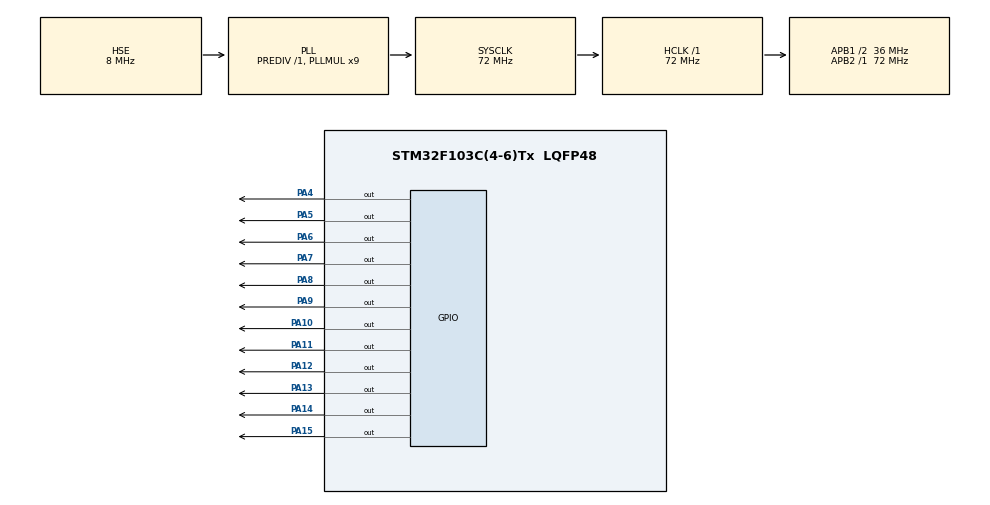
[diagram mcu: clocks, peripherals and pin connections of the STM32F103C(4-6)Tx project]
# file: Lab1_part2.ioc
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Mcu.Family=STM32F1
Mcu.Name=STM32F103C(4-6)Tx
Mcu.Package=LQFP48
NVIC.PriorityGroup=NVIC_PRIORITYGROUP_4
PA10.Signal=GPIO_Output
PA11.Signal=GPIO_Output
PA12.Signal=GPIO_Output
PA13.Signal=GPIO_Output
PA14.Signal=GPIO_Output
PA15.Signal=GPIO_Output
PA4.Signal=GPIO_Output
PA5.Signal=GPIO_Output
PA6.Signal=GPIO_Output
PA7.Signal=GPIO_Output
PA8.Signal=GPIO_Output
PA9.Signal=GPIO_Output
PD0-OSC_IN.Mode=HSE-External-Oscillator
PD0-OSC_IN.Signal=RCC_OSC_IN
PD1-OSC_OUT.Mode=HSE-External-Oscillator
PD1-OSC_OUT.Signal=RCC_OSC_OUT
ProjectManager.HeapSize=0x200
ProjectManager.StackSize=0x400
ProjectManager.TargetToolchain=Makefile
RCC.AHBFreq_Value=72000000
RCC.APB1CLKDivider=RCC_HCLK_DIV2
RCC.APB1Freq_Value=36000000
RCC.APB1TimFreq_Value=72000000
RCC.APB2Freq_Value=72000000
RCC.APB2TimFreq_Value=72000000
RCC.HCLKFreq_Value=72000000
RCC.PLLMUL=RCC_PLL_MUL9
RCC.PLLSourceVirtual=RCC_PLLSOURCE_HSE
RCC.SYSCLKFreq_VALUE=72000000
RCC.SYSCLKSource=RCC_SYSCLKSOURCE_PLLCLK
RCC.USBFreq_Value=72000000
VP_SYS_VS_ND.Mode=No_Debug
board=custom

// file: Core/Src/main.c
/* USER CODE BEGIN Header */
/**
  ******************************************************************************
  * @file           : main.c
  * @brief          : Main program body
  ******************************************************************************
  * @attention
  *
  * Copyright (c) 2023 STMicroelectronics.
  * All rights reserved.
  *
  * This software is licensed under terms that can be found in the LICENSE file
  * in the root directory of this software component.
  * If no LICENSE file comes with this software, it is provided AS-IS.
  *
  ******************************************************************************
  */
/* USER CODE END Header */
#include "main.h"

void SystemClock_Config(void);
static void MX_GPIO_Init(void);

/* USER CODE BEGIN 0 */
void SetNumberOnClock(int num)
{
  switch (num)
  {
  case 0:
    HAL_GPIO_WritePin(GPIOA, GPIO_PIN_4, 0);
    break;
  case 1:
    HAL_GPIO_WritePin(GPIOA, GPIO_PIN_5, 0);
    break;
  case 2:
    HAL_GPIO_WritePin(GPIOA, GPIO_PIN_6, 0);
    break;
  case 3:
    HAL_GPIO_WritePin(GPIOA, GPIO_PIN_7, 0);
    break;
  case 4:
    HAL_GPIO_WritePin(GPIOA, GPIO_PIN_8, 0);
    break;
  case 5:
    HAL_GPIO_WritePin(GPIOA, GPIO_PIN_9, 0);
    break;
  case 6:
    HAL_GPIO_WritePin(GPIOA, GPIO_PIN_10, 0);
    break;
  case 7:
    HAL_GPIO_WritePin(GPIOA, GPIO_PIN_11, 0);
    break;
  case 8:
    HAL_GPIO_WritePin(GPIOA, GPIO_PIN_12, 0);
    break;
  case 9:
    HAL_GPIO_WritePin(GPIOA, GPIO_PIN_13, 0);
    break;
  case 10:
    HAL_GPIO_WritePin(GPIOA, GPIO_PIN_14, 0);
    break;
  case 11:
    HAL_GPIO_WritePin(GPIOA, GPIO_PIN_15, 0);
    break;

  default:
    break;
  }
}

void ClearNumberOnClock(int num)
{
  switch (num)
  {
  case 0:
    HAL_GPIO_WritePin(GPIOA, GPIO_PIN_4, 1);
    break;
  case 1:
    HAL_GPIO_WritePin(GPIOA, GPIO_PIN_5, 1);
    break;
  case 2:
    HAL_GPIO_WritePin(GPIOA, GPIO_PIN_6, 1);
    break;
  case 3:
    HAL_GPIO_WritePin(GPIOA, GPIO_PIN_7, 1);
    break;
  case 4:
    HAL_GPIO_WritePin(GPIOA, GPIO_PIN_8, 1);
    break;
  case 5:
    HAL_GPIO_WritePin(GPIOA, GPIO_PIN_9, 1);
    break;
  case 6:
    HAL_GPIO_WritePin(GPIOA, GPIO_PIN_10, 1);
    break;
  case 7:
    HAL_GPIO_WritePin(GPIOA, GPIO_PIN_11, 1);
    break;
  case 8:
    HAL_GPIO_WritePin(GPIOA, GPIO_PIN_12, 1);
    break;
  case 9:
    HAL_GPIO_WritePin(GPIOA, GPIO_PIN_13, 1);
    break;
  case 10:
    HAL_GPIO_WritePin(GPIOA, GPIO_PIN_14, 1);
    break;
  case 11:
    HAL_GPIO_WritePin(GPIOA, GPIO_PIN_15, 1);
    break;

  default:
    break;
  }
}

void ClearAllClock()
{
  for(int i = 0; i < 12; i++)
  {
    ClearNumberOnClock(i);
  }
}

void Switch1Step2Led(int num)
{
  ClearNumberOnClock(num - 1);
  if(num == 12)
    SetNumberOnClock(0);
  else
    SetNumberOnClock(num);
}

/* USER CODE END 0 */

int main(void)
{

  /* MCU Configuration--------------------------------------------------------*/

  /* Reset of all peripherals, Initializes the Flash interface and the Systick. */
  HAL_Init();

  /* Configure the system clock */
  SystemClock_Config();

  /* Initialize all configured peripherals */
  MX_GPIO_Init();
  /* USER CODE BEGIN 2 */
  int hour = 0;
  int minute = 0;
  int second = 0;

  ClearAllClock();
  /* USER CODE END 2 */

  /* Infinite loop */
  while (1)
  {

    /* USER CODE BEGIN 3 */
    if(second > 13)
    {
      second = 1;
      minute++;
      if(minute > 12)
      {
        minute = 0;
        hour++;
        if(hour > 12) hour = 0;
      }
    }

    SetNumberOnClock(hour);
    SetNumberOnClock(minute);
    Switch1Step2Led(second);

    second++;
    HAL_Delay(1000);
  }
  /* USER CODE END 3 */
}

void SystemClock_Config(void)
{
  RCC_OscInitTypeDef RCC_OscInitStruct = {0};
  RCC_ClkInitTypeDef RCC_ClkInitStruct = {0};

  /** Initializes the RCC Oscillators according to the specified parameters
  * in the RCC_OscInitTypeDef structure.
  */
  RCC_OscInitStruct.OscillatorType = RCC_OSCILLATORTYPE_HSE;
  RCC_OscInitStruct.HSEState = RCC_HSE_ON;
  RCC_OscInitStruct.HSEPredivValue = RCC_HSE_PREDIV_DIV1;
  RCC_OscInitStruct.HSIState = RCC_HSI_ON;
  RCC_OscInitStruct.PLL.PLLState = RCC_PLL_ON;
  RCC_OscInitStruct.PLL.PLLSource = RCC_PLLSOURCE_HSE;
  RCC_OscInitStruct.PLL.PLLMUL = RCC_PLL_MUL9;
  if (HAL_RCC_OscConfig(&RCC_OscInitStruct) != HAL_OK)
  {
    Error_Handler();
  }

  /** Initializes the CPU, AHB and APB buses clocks
  */
  RCC_ClkInitStruct.ClockType = RCC_CLOCKTYPE_HCLK|RCC_CLOCKTYPE_SYSCLK
                              |RCC_CLOCKTYPE_PCLK1|RCC_CLOCKTYPE_PCLK2;
  RCC_ClkInitStruct.SYSCLKSource = RCC_SYSCLKSOURCE_PLLCLK;
  RCC_ClkInitStruct.AHBCLKDivider = RCC_SYSCLK_DIV1;
  RCC_ClkInitStruct.APB1CLKDivider = RCC_HCLK_DIV2;
  RCC_ClkInitStruct.APB2CLKDivider = RCC_HCLK_DIV1;

  if (HAL_RCC_ClockConfig(&RCC_ClkInitStruct, FLASH_LATENCY_2) != HAL_OK)
  {
    Error_Handler();
  }
}

static void MX_GPIO_Init(void)
{
  GPIO_InitTypeDef GPIO_InitStruct = {0};

  /* GPIO Ports Clock Enable */
  __HAL_RCC_GPIOD_CLK_ENABLE();
  __HAL_RCC_GPIOA_CLK_ENABLE();

  /*Configure GPIO pin Output Level */
  HAL_GPIO_WritePin(GPIOA, GPIO_PIN_4|GPIO_PIN_5|GPIO_PIN_6|GPIO_PIN_7
                          |GPIO_PIN_8|GPIO_PIN_9|GPIO_PIN_10|GPIO_PIN_11
                          |GPIO_PIN_12|GPIO_PIN_13|GPIO_PIN_14|GPIO_PIN_15, GPIO_PIN_RESET);

  /*Configure GPIO pins : PA4 PA5 PA6 PA7
                           PA8 PA9 PA10 PA11
                           PA12 PA13 PA14 PA15 */
  GPIO_InitStruct.Pin = GPIO_PIN_4|GPIO_PIN_5|GPIO_PIN_6|GPIO_PIN_7
                          |GPIO_PIN_8|GPIO_PIN_9|GPIO_PIN_10|GPIO_PIN_11
                          |GPIO_PIN_12|GPIO_PIN_13|GPIO_PIN_14|GPIO_PIN_15;
  GPIO_InitStruct.Mode = GPIO_MODE_OUTPUT_PP;
  GPIO_InitStruct.Pull = GPIO_NOPULL;
  GPIO_InitStruct.Speed = GPIO_SPEED_FREQ_LOW;
  HAL_GPIO_Init(GPIOA, &GPIO_InitStruct);

}

void Error_Handler(void)
{
  __disable_irq();
  while (1)
  {
  }
}
